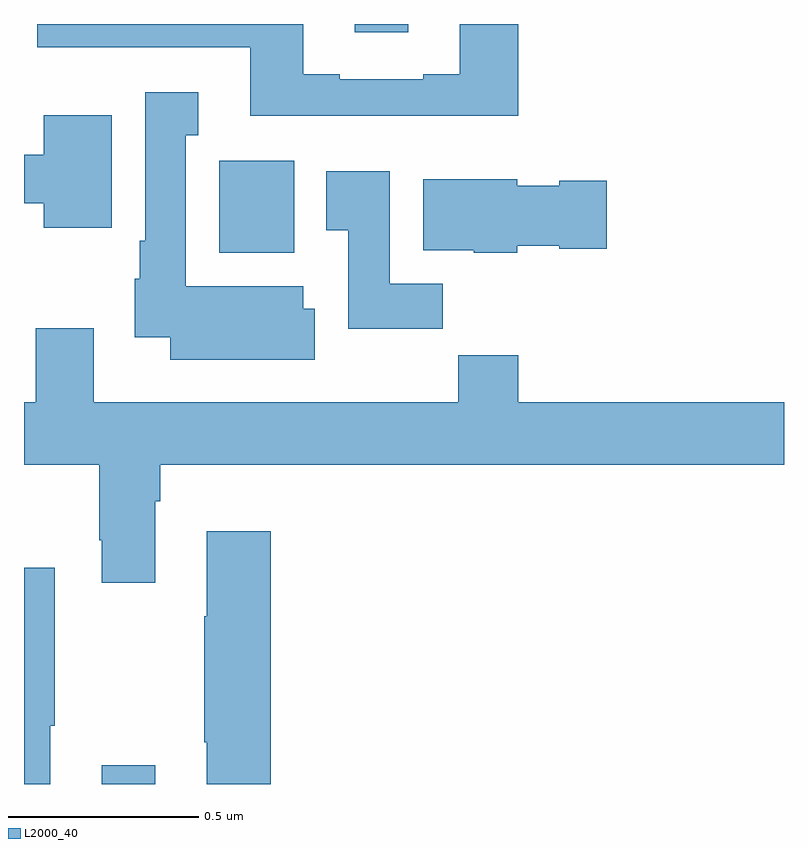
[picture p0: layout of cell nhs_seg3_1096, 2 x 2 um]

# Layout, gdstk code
import gdstk
lib = gdstk.Library(unit=1e-6, precision=1e-09)
def R(c, l, rs):  # rectangles x0, y0, x1, y1
    for r in rs: c.add(gdstk.rectangle(r[:2], r[2:], *l))
def P(c, l, *ps):  # polygons
    for p in ps: c.add(gdstk.Polygon(p, *l))
L2000_40 = (2000, 40)

nhs_seg3_1096 = lib.new_cell('nhs_seg3_1096')
R(nhs_seg3_1096, L2000_40, [(124.205,709.4,124.345,709.45), (124.514,710.798,124.711,711.04), (124.871,711.378,125.011,711.4)])
P(nhs_seg3_1096, L2000_40, [(125.3,711.4),(125.147,711.4),(125.147,711.268),(125.051,711.268),(125.051,711.255),(124.831,711.255),(124.831,711.268),(124.735,711.268),(124.735,711.4),(124.035,711.4),(124.035,711.339),(124.595,711.339),(124.595,711.158),(125.3,711.158)],
  [(124.765,710.651),(124.735,710.651),(124.735,710.71),(124.426,710.71),(124.426,711.107),(124.459,711.107),(124.459,711.22),(124.319,711.22),(124.319,710.83),(124.304,710.83),(124.304,710.73),(124.292,710.73),(124.292,710.576),(124.385,710.576),(124.385,710.516),(124.765,710.516)],
  [(124.231,711.16),(124.052,711.16),(124.052,711.056),(124,711.056),(124,710.928),(124.052,710.928),(124.052,710.864),(124.231,710.864)],
  [(125.102,710.716),(124.963,710.716),(124.963,711.013),(124.796,711.013),(124.796,710.857),(124.853,710.857),(124.853,710.598),(125.102,710.598)],
  [(125.298,710.816),(125.409,710.816),(125.409,710.809),(125.533,710.809),(125.533,710.987),(125.409,710.987),(125.409,710.974),(125.298,710.974),(125.298,710.992),(125.051,710.992),(125.051,710.804),(125.184,710.804),(125.184,710.798),(125.298,710.798)],
  [(124.345,710.144),(124.358,710.144),(124.358,710.24),(126,710.24),(126,710.404),(125.3,710.404),(125.3,710.528),(125.143,710.528),(125.143,710.404),(124.183,710.404),(124.183,710.599),(124.031,710.599),(124.031,710.404),(124,710.404),(124,710.24),(124.198,710.24),(124.198,710.041),(124.205,710.041),(124.205,709.929),(124.345,709.929)],
  [(124.649,710.065),(124.481,710.065),(124.481,709.841),(124.474,709.841),(124.474,709.51),(124.481,709.51),(124.481,709.4),(124.649,709.4)],
  [(124.069,709.553),(124.081,709.553),(124.081,709.969),(124,709.969),(124,709.4),(124.069,709.4)])

lib.write_gds('nhs_seg3_1096.gds')
